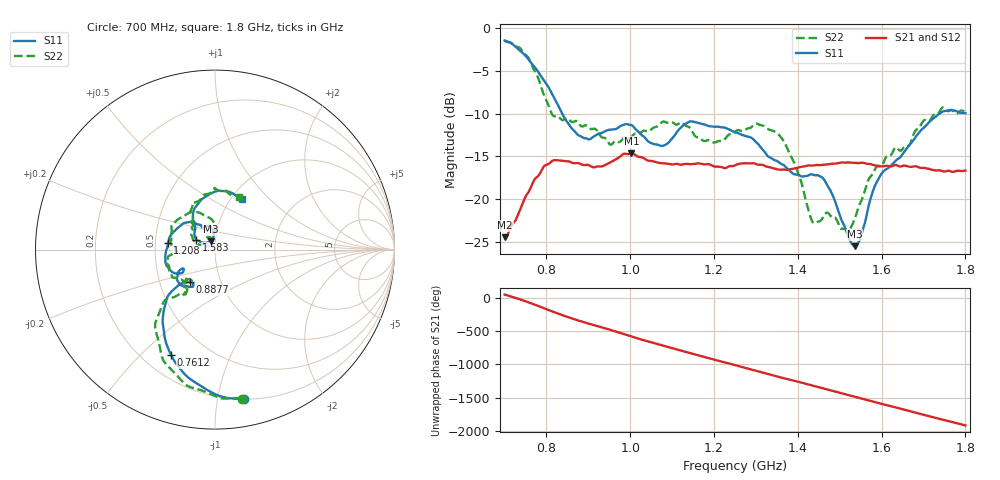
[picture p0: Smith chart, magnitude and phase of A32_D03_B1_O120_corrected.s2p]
! Created with skrf 1.9.0 (http://scikit-rf.org).
# Hz S RI R 50.0
!freq ReS11 ImS11 ReS21 ImS21 ReS12 ImS12 ReS22 ImS22
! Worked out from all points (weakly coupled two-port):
!   1601 points, 700 MHz to 1.8 GHz, reference 50 ohm
!   highest |S21| = -14.64 dB at 1.002 GHz (marker M1); lowest = -24.5 dB at 701.4 MHz (marker M2)
!   lowest |S11| = -25.5 dB at 1.535 GHz (marker M3), VSWR 1.11, Z = 47.5 + j4.5 ohm
!   |S11| at or under -10 dB: 837.5 MHz to 1.738 GHz (900.7 MHz wide, 69.9 % of centre)
!   |S22| runs from -23.8 to -1.5 dB; largest |S21 - S12| = 0.0034
!   S11 on the Smith chart (normalised r, x): 700 MHz: 0.20, -1.19; 761.2 MHz: 0.31, -0.62; 887.7 MHz: 0.71, -0.27; 1.208 GHz: 0.58, +0.04; 1.583 GHz: 0.81, +0.09; 1.8 GHz: 1.12, +0.70
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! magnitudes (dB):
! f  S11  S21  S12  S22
! 700 MHz  -1.4  -24.5  -24.3  -1.5
! 701.4 MHz  -1.4  -24.5  -24.1  -1.5
! 761.2 MHz  -3.9  -18.8  -18.7  -3.8
! 814.8 MHz  -7.8  -15.5  -15.6  -10.2
! 883.6 MHz  -12.7  -15.9  -15.8  -11.5
! 887.7 MHz  -12.8  -16.0  -15.9  -11.5
! 953 MHz  -11.9  -15.7  -15.7  -13.6
! 1.002 GHz  -11.3  -14.6  -14.7  -12.7
! 1.067 GHz  -13.7  -15.8  -15.7  -11.4
! 1.141 GHz  -10.9  -15.9  -15.9  -11.6
! 1.208 GHz  -11.5  -16.2  -16.2  -13.3
! 1.25 GHz  -12.2  -16.1  -16.0  -12.1
! 1.357 GHz  -15.8  -16.6  -16.5  -12.6
! 1.396 GHz  -17.1  -16.4  -16.4  -16.4
! 1.434 GHz  -17.1  -16.1  -16.1  -22.6
! 1.466 GHz  -18.0  -16.0  -15.9  -21.7
! 1.518 GHz  -24.2  -15.7  -15.7  -23.7
! 1.535 GHz  -25.5  -15.8  -15.8  -22.4
! 1.583 GHz  -18.5  -16.0  -16.1  -16.6
! 1.617 GHz  -16.3  -16.1  -16.1  -15.0
! 1.738 GHz  -10.0  -16.6  -16.7  -9.8
! 1.8 GHz  -9.9  -16.7  -16.7  -9.8
